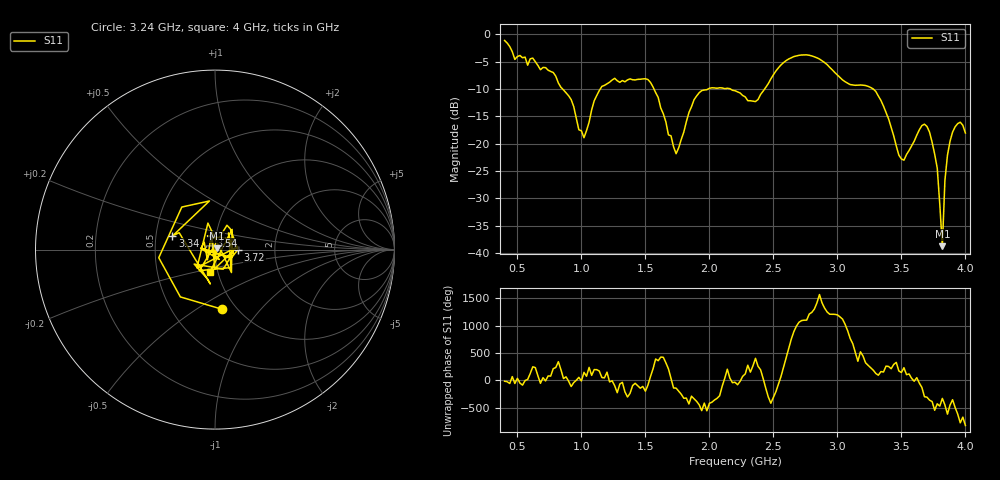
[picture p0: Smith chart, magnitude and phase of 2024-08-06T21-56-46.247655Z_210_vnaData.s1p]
!Created with skrf (http://scikit-rf.org).
# Hz S RI R 50.0
!freq ReS11 ImS11
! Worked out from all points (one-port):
!   181 points, 400 MHz to 4 GHz, reference 50 ohm
!   lowest |S11| = -38.7 dB at 3.82 GHz (marker M1), VSWR 1.02, Z = 51 + j0.627 ohm
!   |S11| at or under -10 dB: 853.2 MHz to 1.147 GHz (293.9 MHz wide, 29.4 % of centre); 1.567 GHz to 1.99 GHz (422.7 MHz wide, 23.8 % of centre); 3.28 GHz to end of sweep (the widest 3 of 4)
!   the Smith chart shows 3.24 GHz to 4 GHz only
!   S11 on the Smith chart (normalised r, x): 3.24 GHz: 0.86, -0.64; 3.34 GHz: 0.61, +0.10; 3.54 GHz: 0.95, +0.15; 3.72 GHz: 1.29, -0.00; 4 GHz: 0.92, -0.23
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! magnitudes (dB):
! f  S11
! 400 MHz  -1.1
! 480 MHz  -4.6
! 620 MHz  -4.4
! 860 MHz  -10.2
! 1.02 GHz  -18.9
! 1.16 GHz  -9.5
! 1.3 GHz  -8.8
! 1.52 GHz  -8.3
! 1.74 GHz  -21.8
! 1.76 GHz  -20.7
! 1.92 GHz  -10.7
! 2.2 GHz  -10.3
! 2.36 GHz  -12.3
! 2.66 GHz  -4.1
! 3.1 GHz  -9.2
! 3.24 GHz  -9.5
! 3.34 GHz  -12.1
! 3.48 GHz  -22.1
! 3.54 GHz  -22.0
! 3.56 GHz  -21.2
! 3.66 GHz  -16.7
! 3.72 GHz  -17.9
! 3.78 GHz  -24.4
! 3.82 GHz  -38.7
! 3.84 GHz  -26.7
! 3.88 GHz  -19.5
! 3.96 GHz  -16.1
! 4 GHz  -18.0
